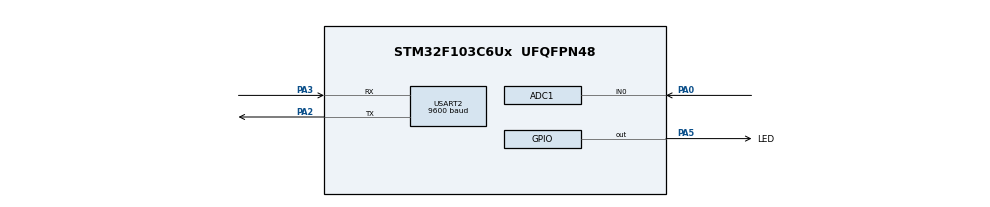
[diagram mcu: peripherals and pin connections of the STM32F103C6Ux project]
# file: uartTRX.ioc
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ADC1.Channel-0\#ChannelRegularConversion=ADC_CHANNEL_0
ADC1.ContinuousConvMode=ENABLE
ADC1.NbrOfConversionFlag=1
ADC1.Rank-0\#ChannelRegularConversion=1
ADC1.SamplingTime-0\#ChannelRegularConversion=ADC_SAMPLETIME_1CYCLE_5
ADC1.master=1
Mcu.Family=STM32F1
Mcu.Name=STM32F103C6Ux
Mcu.Package=UFQFPN48
NVIC.PriorityGroup=NVIC_PRIORITYGROUP_4
NVIC.TIM2_IRQn=true\:0\:0\:false\:false\:true\:true\:true\:true
NVIC.USART2_IRQn=true\:0\:0\:false\:false\:true\:true\:true\:true
PA0-WKUP.Signal=ADCx_IN0
PA2.Mode=Asynchronous
PA2.Signal=USART2_TX
PA3.Mode=Asynchronous
PA3.Signal=USART2_RX
PA5.GPIO_Label=LED
PA5.Signal=GPIO_Output
ProjectManager.HeapSize=0x200
ProjectManager.StackSize=0x400
ProjectManager.TargetToolchain=STM32CubeIDE
RCC.APB1Freq_Value=8000000
RCC.APB2Freq_Value=8000000
SH.ADCx_IN0.0=ADC1_IN0,IN0
TIM2.Period=99
TIM2.Prescaler=799
USART2.BaudRate=9600
USART2.VirtualMode=VM_ASYNC
VP_SYS_VS_ND.Mode=No_Debug
VP_TIM2_VS_ClockSourceINT.Mode=Internal
board=custom

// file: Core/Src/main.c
/* USER CODE BEGIN Header */
/**
  ******************************************************************************
  * @file           : main.c
  * @brief          : Main program body
  ******************************************************************************
  * @attention
  *
  * Copyright (c) 2025 STMicroelectronics.
  * All rights reserved.
  *
  * This software is licensed under terms that can be found in the LICENSE file
  * in the root directory of this software component.
  * If no LICENSE file comes with this software, it is provided AS-IS.
  *
  ******************************************************************************
  */
/* USER CODE END Header */
#include "main.h"
#include "adc.h"
#include "tim.h"
#include "usart.h"
#include "gpio.h"

/* USER CODE BEGIN Includes */
#include "inc_modules/software_timer.h"
#include "inc_modules/uart_fsm.h"
/* USER CODE END Includes */

void SystemClock_Config(void);

int main(void)
{

  /* MCU Configuration--------------------------------------------------------*/

  /* Reset of all peripherals, Initializes the Flash interface and the Systick. */
  HAL_Init();

  /* Configure the system clock */
  SystemClock_Config();

  /* Initialize all configured peripherals */
  MX_GPIO_Init();
  MX_TIM2_Init();
  MX_ADC1_Init();
  MX_USART2_UART_Init();
  /* USER CODE BEGIN 2 */
  HAL_TIM_Base_Start_IT(&htim2);
  HAL_ADC_Start(&hadc1);
  /* USER CODE END 2 */

  /* Infinite loop */
  /* USER CODE BEGIN WHILE */
  setTimer(1000, 1);
  while (1)
  {
	  if (buffer_flag == 1)
	  {
		  fsm_command_parser();
		  buffer_flag = 0;
	  }
	  fsm_uart_communication();

	  if (get_flag(1))
	  {
		  setTimer(1000, 1);
		  HAL_GPIO_TogglePin(LED_GPIO_Port, LED_Pin);
	  }
    /* USER CODE END WHILE */

  }
}

void SystemClock_Config(void)
{
  RCC_OscInitTypeDef RCC_OscInitStruct = {0};
  RCC_ClkInitTypeDef RCC_ClkInitStruct = {0};
  RCC_PeriphCLKInitTypeDef PeriphClkInit = {0};

  /** Initializes the RCC Oscillators according to the specified parameters
  * in the RCC_OscInitTypeDef structure.
  */
  RCC_OscInitStruct.OscillatorType = RCC_OSCILLATORTYPE_HSI;
  RCC_OscInitStruct.HSIState = RCC_HSI_ON;
  RCC_OscInitStruct.HSICalibrationValue = RCC_HSICALIBRATION_DEFAULT;
  RCC_OscInitStruct.PLL.PLLState = RCC_PLL_NONE;
  if (HAL_RCC_OscConfig(&RCC_OscInitStruct) != HAL_OK)
  {
    Error_Handler();
  }

  /** Initializes the CPU, AHB and APB buses clocks
  */
  RCC_ClkInitStruct.ClockType = RCC_CLOCKTYPE_HCLK|RCC_CLOCKTYPE_SYSCLK
                              |RCC_CLOCKTYPE_PCLK1|RCC_CLOCKTYPE_PCLK2;
  RCC_ClkInitStruct.SYSCLKSource = RCC_SYSCLKSOURCE_HSI;
  RCC_ClkInitStruct.AHBCLKDivider = RCC_SYSCLK_DIV1;
  RCC_ClkInitStruct.APB1CLKDivider = RCC_HCLK_DIV1;
  RCC_ClkInitStruct.APB2CLKDivider = RCC_HCLK_DIV1;

  if (HAL_RCC_ClockConfig(&RCC_ClkInitStruct, FLASH_LATENCY_0) != HAL_OK)
  {
    Error_Handler();
  }
  PeriphClkInit.PeriphClockSelection = RCC_PERIPHCLK_ADC;
  PeriphClkInit.AdcClockSelection = RCC_ADCPCLK2_DIV2;
  if (HAL_RCCEx_PeriphCLKConfig(&PeriphClkInit) != HAL_OK)
  {
    Error_Handler();
  }
}

/* USER CODE BEGIN 4 */
void HAL_UART_RxCpltCallback(UART_HandleTypeDef *huart)
{
	if (huart->Instance == USART2)
	{
		get_uart_message(huart);
	}
}
/* USER CODE END 4 */

void Error_Handler(void)
{
  __disable_irq();
  while (1)
  {
  }
}
